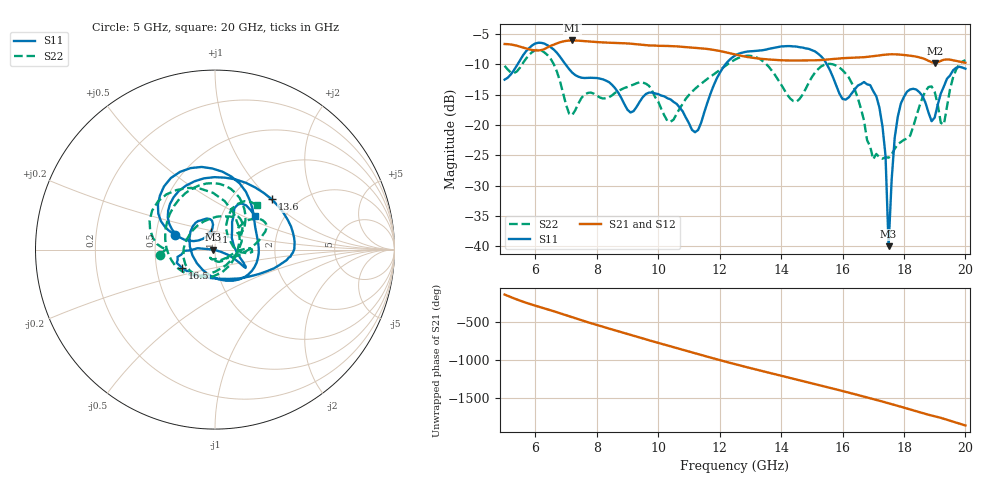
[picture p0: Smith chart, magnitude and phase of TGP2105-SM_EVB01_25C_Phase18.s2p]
! Date: Wednesday, June 05, 2013  1:50 PM
! Filename: C:\Data\Mike_Arnold\TGP2105-SM\Over_Temp\TGP2105-SM_EVB01_25C_Phase18.s2p
! Comments:
!^VDC(V):5.000
!^VDC(mA):0.037
!%Freq(GHz),S11(dB),S11(ang),S21(dB),S21(ang),S12(dB),S12(ang),S22(dB),S22(ang)
# GHz  S  DB  R  50
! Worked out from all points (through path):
!   151 points, 5 GHz to 20 GHz, reference 50 ohm
!   highest |S21| = -6.09 dB at 7.2 GHz (marker M1); lowest = -9.8 dB at 19 GHz (marker M2)
!   group delay of S21, straight-line fit = 306 ps
!   lowest |S11| = -40.0 dB at 17.5 GHz (marker M3), VSWR 1.02, Z = 49 + j0.0231 ohm
!   |S11| at or under -10 dB: start of sweep to 5.425 GHz; 6.979 GHz to 12.19 GHz (5.214 GHz wide, 54.4 % of centre); 15.49 GHz to end of sweep
!   |S22| runs from -25.7 to -7.6 dB; largest |S21 - S12| = 0.002
!   S11 on the Smith chart (normalised r, x): 5 GHz: 0.63, +0.10; 11 GHz: 0.94, +0.19; 13.6 GHz: 1.50, +1.03; 16.5 GHz: 0.68, -0.15; 20 GHz: 1.43, +0.58
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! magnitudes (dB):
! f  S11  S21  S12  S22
! 5 GHz  -12.5  -6.7  -6.7  -10.3
! 6.3 GHz  -6.6  -7.5  -7.5  -8.1
! 7.2 GHz  -11.4  -6.1  -6.1  -18.4
! 7.5 GHz  -12.2  -6.2  -6.2  -15.6
! 9.1 GHz  -18.0  -6.6  -6.6  -13.5
! 10 GHz  -14.9  -7.0  -7.0  -16.2
! 10.4 GHz  -15.8  -7.0  -7.0  -19.5
! 11 GHz  -19.7  -7.2  -7.2  -15.1
! 12.5 GHz  -8.6  -8.4  -8.4  -9.2
! 13.6 GHz  -7.5  -9.2  -9.2  -10.4
! 14.4 GHz  -7.1  -9.4  -9.4  -16.1
! 15 GHz  -7.7  -9.4  -9.4  -12.2
! 16 GHz  -15.7  -9.0  -9.0  -11.0
! 16.5 GHz  -13.5  -8.9  -8.9  -15.6
! 17.2 GHz  -17.1  -8.5  -8.6  -25.3
! 17.4 GHz  -25.1  -8.4  -8.5  -25.3
! 17.5 GHz  -40.0  -8.4  -8.4  -25.4
! 17.7 GHz  -22.1  -8.4  -8.4  -23.9
! 17.9 GHz  -16.5  -8.4  -8.5  -22.8
! 19 GHz  -18.8  -9.8  -9.8  -14.5
! 19.3 GHz  -13.7  -9.3  -9.3  -19.9
! 20 GHz  -10.7  -9.8  -9.8  -9.3
